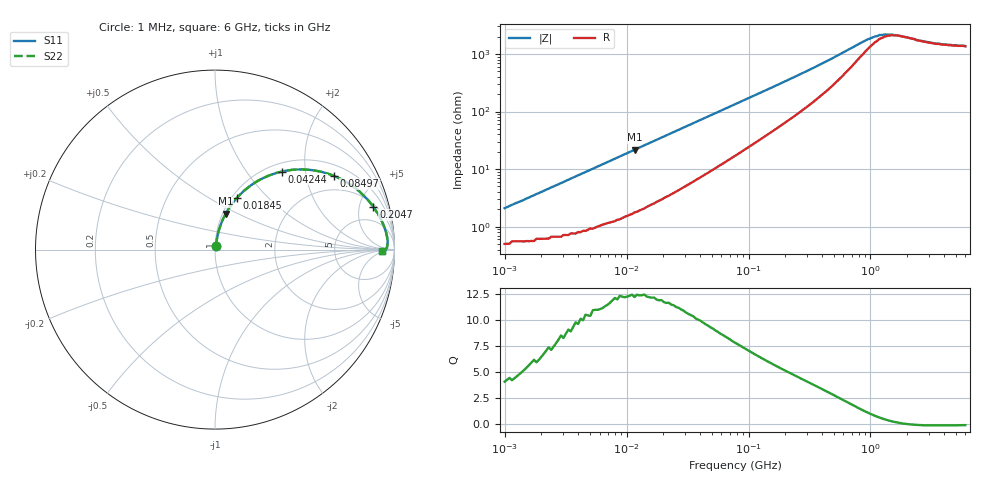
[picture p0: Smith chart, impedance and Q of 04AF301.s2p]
# MHz S MA R 50
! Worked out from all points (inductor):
!   189 points, 1 MHz to 6 GHz, reference 50 ohm
!   read as one part in series: L = 323 nH near 1 MHz
!   highest Q = 12.4 at 11.62 MHz (marker M1), where L = 296 nH
!   self-resonance near 1.924 GHz
!   S11 on the Smith chart (normalised r, x): 1 MHz: 1.01, +0.04; 18.45 MHz: 1.06, +0.67; 42.44 MHz: 1.15, +1.49; 84.97 MHz: 1.39, +2.90; 204.7 MHz: 2.32, +6.74; 6 GHz: 28, -3
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1  0.021 74.5  0.995 -1.2  0.995 -1.2  0.021 74.5
1.448  0.029 77.5  0.994 -1.7  0.994 -1.7  0.029 77.5
2.3  0.046 79.5  0.993 -2.6  0.993 -2.6  0.046 79.5
4.396  0.084 79.5  0.988 -4.8  0.988 -4.8  0.084 79.5
7.314  0.136 77.4  0.979 -7.8  0.979 -7.8  0.136 77.4
11.618  0.208 73.4  0.961 -12.0  0.961 -12.0  0.208 73.4
18.454  0.312 67.1  0.924 -18.1  0.924 -18.1  0.312 67.1
26.721  0.42 60.1  0.871 -24.7  0.871 -24.7  0.42 60.1
42.444  0.573 49.4  0.763 -34.8  0.763 -34.8  0.573 49.4
56.027  0.664 42.3  0.677 -41.3  0.677 -41.3  0.664 42.3
77.46  0.756 34.1  0.565 -48.6  0.565 -48.6  0.756 34.1
84.971  0.779 31.9  0.533 -50.6  0.533 -50.6  0.779 31.9
128.866  0.86 22.9  0.393 -58.1  0.393 -58.1  0.86 22.9
204.693  0.914 15.1  0.266 -63.7  0.266 -63.7  0.914 15.1
340.538  0.945 9.2  0.165 -65.9  0.165 -65.9  0.945 9.2
516.457  0.958 5.7  0.106 -63.8  0.106 -63.8  0.958 5.7
942.517  0.963 2.3  0.054 -45.2  0.054 -45.2  0.963 2.3
1187.879  0.961 1.3  0.045 -29.5  0.045 -29.5  0.961 1.3
1429.415  0.958 0.7  0.044 -15.9  0.044 -15.9  0.958 0.7
1642.283  0.955 0.3  0.045 -7.2  0.045 -7.2  0.955 0.3
3443.441  0.939 -0.6  0.062 8.4  0.062 8.4  0.939 -0.6
6000  0.933 -0.5  0.068 6.7  0.068 6.7  0.933 -0.5
